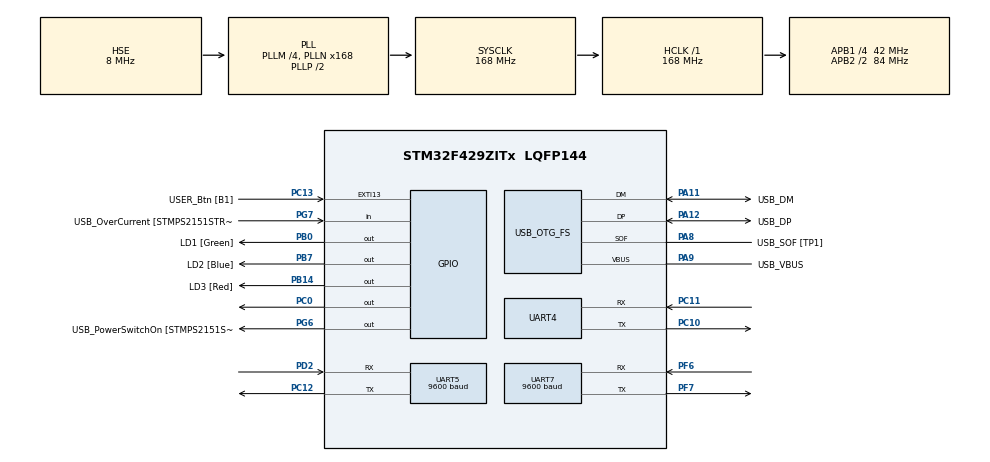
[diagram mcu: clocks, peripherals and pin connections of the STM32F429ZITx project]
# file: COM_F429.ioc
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Dma.Request0=UART4_RX
Dma.Request1=UART7_RX
Dma.Request2=UART5_RX
Dma.UART4_RX.0.Direction=DMA_PERIPH_TO_MEMORY
Dma.UART4_RX.0.FIFOMode=DMA_FIFOMODE_DISABLE
Dma.UART4_RX.0.Instance=DMA1_Stream2
Dma.UART4_RX.0.MemDataAlignment=DMA_MDATAALIGN_BYTE
Dma.UART4_RX.0.MemInc=DMA_MINC_ENABLE
Dma.UART4_RX.0.Mode=DMA_NORMAL
Dma.UART4_RX.0.PeriphDataAlignment=DMA_PDATAALIGN_BYTE
Dma.UART4_RX.0.PeriphInc=DMA_PINC_DISABLE
Dma.UART4_RX.0.Priority=DMA_PRIORITY_MEDIUM
Dma.UART5_RX.2.Direction=DMA_PERIPH_TO_MEMORY
Dma.UART5_RX.2.FIFOMode=DMA_FIFOMODE_DISABLE
Dma.UART5_RX.2.Instance=DMA1_Stream0
Dma.UART5_RX.2.MemDataAlignment=DMA_MDATAALIGN_BYTE
Dma.UART5_RX.2.MemInc=DMA_MINC_ENABLE
Dma.UART5_RX.2.Mode=DMA_NORMAL
Dma.UART5_RX.2.PeriphDataAlignment=DMA_PDATAALIGN_BYTE
Dma.UART5_RX.2.PeriphInc=DMA_PINC_DISABLE
Dma.UART5_RX.2.Priority=DMA_PRIORITY_MEDIUM
Dma.UART7_RX.1.Direction=DMA_PERIPH_TO_MEMORY
Dma.UART7_RX.1.FIFOMode=DMA_FIFOMODE_DISABLE
Dma.UART7_RX.1.Instance=DMA1_Stream3
Dma.UART7_RX.1.MemDataAlignment=DMA_MDATAALIGN_BYTE
Dma.UART7_RX.1.MemInc=DMA_MINC_ENABLE
Dma.UART7_RX.1.Mode=DMA_NORMAL
Dma.UART7_RX.1.PeriphDataAlignment=DMA_PDATAALIGN_BYTE
Dma.UART7_RX.1.PeriphInc=DMA_PINC_DISABLE
Dma.UART7_RX.1.Priority=DMA_PRIORITY_MEDIUM
Mcu.Family=STM32F4
Mcu.Name=STM32F429ZITx
Mcu.Package=LQFP144
NVIC.DMA1_Stream0_IRQn=true\:0\:0\:false\:false\:true\:false\:true\:true
NVIC.DMA1_Stream2_IRQn=true\:0\:0\:false\:false\:true\:false\:true\:true
NVIC.DMA1_Stream3_IRQn=true\:0\:0\:false\:false\:true\:false\:true\:true
NVIC.OTG_FS_IRQn=true\:0\:0\:false\:false\:true\:false\:true\:true
NVIC.PriorityGroup=NVIC_PRIORITYGROUP_4
NVIC.UART4_IRQn=true\:0\:0\:false\:false\:true\:true\:true\:true
NVIC.UART5_IRQn=true\:0\:0\:false\:false\:true\:true\:true\:true
NVIC.UART7_IRQn=true\:0\:0\:false\:false\:true\:true\:true\:true
PA1.GPIO_Label=RMII_REF_CLK [LAN8742A-CZ-TR_REFCLK0]
PA1.Signal=ETH_REF_CLK
PA10.GPIO_Label=USB_ID
PA10.Signal=USB_OTG_FS_ID
PA11.GPIO_Label=USB_DM
PA11.Mode=Device_Only
PA11.Signal=USB_OTG_FS_DM
PA12.GPIO_Label=USB_DP
PA12.Mode=Device_Only
PA12.Signal=USB_OTG_FS_DP
PA13.GPIO_Label=TMS
PA13.Mode=Serial_Wire
PA13.Signal=SYS_JTMS-SWDIO
PA14.GPIO_Label=TCK
PA14.Mode=Serial_Wire
PA14.Signal=SYS_JTCK-SWCLK
PA2.GPIO_Label=RMII_MDIO [LAN8742A-CZ-TR_MDIO]
PA2.Signal=ETH_MDIO
PA7.GPIO_Label=RMII_CRS_DV [LAN8742A-CZ-TR_CRS_DV]
PA7.Signal=ETH_CRS_DV
PA8.GPIO_Label=USB_SOF [TP1]
PA8.Mode=Activate_SOF_FS
PA8.Signal=USB_OTG_FS_SOF
PA9.GPIO_Label=USB_VBUS
PA9.Mode=Activate_VBUS
PA9.Signal=USB_OTG_FS_VBUS
PB0.GPIO_Label=LD1 [Green]
PB0.Signal=GPIO_Output
PB13.GPIO_Label=RMII_TXD1 [LAN8742A-CZ-TR_TXD1]
PB13.Signal=ETH_TXD1
PB14.GPIO_Label=LD3 [Red]
PB14.Signal=GPIO_Output
PB7.GPIO_Label=LD2 [Blue]
PB7.Signal=GPIO_Output
PC0.GPIO_Speed=GPIO_SPEED_FREQ_VERY_HIGH
PC0.PinState=GPIO_PIN_SET
PC0.Signal=GPIO_Output
PC1.GPIO_Label=RMII_MDC [LAN8742A-CZ-TR_MDC]
PC1.Signal=ETH_MDC
PC10.Mode=Asynchronous
PC10.Signal=UART4_TX
PC11.Mode=Asynchronous
PC11.Signal=UART4_RX
PC12.Mode=Asynchronous
PC12.Signal=UART5_TX
PC13.GPIO_Label=USER_Btn [B1]
PC13.Signal=GPXTI13
PC14/OSC32_IN.Mode=LSE-External-Oscillator
PC14/OSC32_IN.Signal=RCC_OSC32_IN
PC15/OSC32_OUT.Mode=LSE-External-Oscillator
PC15/OSC32_OUT.Signal=RCC_OSC32_OUT
PC4.GPIO_Label=RMII_RXD0 [LAN8742A-CZ-TR_RXD0]
PC4.Signal=ETH_RXD0
PC5.GPIO_Label=RMII_RXD1 [LAN8742A-CZ-TR_RXD1]
PC5.Signal=ETH_RXD1
PD2.Mode=Asynchronous
PD2.Signal=UART5_RX
PD8.GPIO_Label=STLK_RX [STM32F103CBT6_PA3]
PD8.Signal=USART3_TX
PD9.GPIO_Label=STLK_TX [STM32F103CBT6_PA2]
PD9.Signal=USART3_RX
PF6.Mode=Asynchronous
PF6.Signal=UART7_RX
PF7.Mode=Asynchronous
PF7.Signal=UART7_TX
PG11.GPIO_Label=RMII_TX_EN [LAN8742A-CZ-TR_TXEN]
PG11.Signal=ETH_TX_EN
PG13.GPIO_Label=RMII_TXD0 [LAN8742A-CZ-TR_TXD0]
PG13.Signal=ETH_TXD0
PG6.GPIO_Label=USB_PowerSwitchOn [STMPS2151STR_EN]
PG6.Signal=GPIO_Output
PG7.GPIO_Label=USB_OverCurrent [STMPS2151STR_FAULT]
PG7.Signal=GPIO_Input
PH0/OSC_IN.GPIO_Label=MCO [STM32F103CBT6_PA8]
PH0/OSC_IN.Mode=HSE-External-Clock-Source
PH0/OSC_IN.Signal=RCC_OSC_IN
PH1/OSC_OUT.Mode=HSE-External-Clock-Source
PH1/OSC_OUT.Signal=RCC_OSC_OUT
ProjectManager.HeapSize=0x200
ProjectManager.StackSize=0x400
ProjectManager.TargetToolchain=STM32CubeIDE
RCC.48MHZClocksFreq_Value=48000000
RCC.AHBFreq_Value=168000000
RCC.APB1CLKDivider=RCC_HCLK_DIV4
RCC.APB1Freq_Value=42000000
RCC.APB1TimFreq_Value=84000000
RCC.APB2CLKDivider=RCC_HCLK_DIV2
RCC.APB2Freq_Value=84000000
RCC.APB2TimCLKDivider=2
RCC.APB2TimFreq_Value=168000000
RCC.CortexFreq_Value=168000000
RCC.HCLKFreq_Value=168000000
RCC.HSE_VALUE=8000000
RCC.HSI_VALUE=16000000
RCC.PLLM=4
RCC.PLLMUL=RCC_PLL_MUL9
RCC.PLLN=168
RCC.PLLQ=7
RCC.PRESCALERUSB=RCC_USBCLKSOURCE_PLL_DIV1_5
RCC.SYSCLKFreq_VALUE=168000000
RCC.SYSCLKSource=RCC_SYSCLKSOURCE_PLLCLK
RCC.SYSCLKSourceVirtual=RCC_SYSCLKSOURCE_PLLCLK
RCC.USBFreq_Value=48000000
RCC.VCOOutputFreq_Value=336000000
UART4.VirtualMode=Asynchronous
UART5.BaudRate=9600
UART5.VirtualMode=Asynchronous
UART7.BaudRate=9600
UART7.VirtualMode=Asynchronous
USB_DEVICE.CLASS_NAME_FS=CDC
USB_DEVICE.CONFIGURATION_STRING_CDC_FS=CDC Config
USB_DEVICE.INTERFACE_STRING_CDC_FS=USB Serial Port
USB_DEVICE.MANUFACTURER_STRING-CDC_FS=STMicroelectronics
USB_DEVICE.PID_CDC_FS=0x5740
USB_DEVICE.PRODUCT_STRING_CDC_FS=USB Serial Port
USB_DEVICE.VID-CDC_FS=0x483
USB_DEVICE.VirtualMode-CDC_FS=Cdc
USB_DEVICE.VirtualModeFS=Cdc_FS
USB_OTG_FS.VirtualMode=Device_Only
VP_CRC_VS_CRC.Mode=CRC_Activate
VP_USB_DEVICE_VS_USB_DEVICE_CDC_FS.Mode=CDC_FS
board=NUCLEO-F429ZI

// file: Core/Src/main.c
/* USER CODE BEGIN Header */
/**
  ******************************************************************************
  * @file           : main.c
  * @brief          : Main program body
  ******************************************************************************
  * @attention
  *
  * Copyright (c) 2025 STMicroelectronics.
  * All rights reserved.
  *
  * This software is licensed under terms that can be found in the LICENSE file
  * in the root directory of this software component.
  * If no LICENSE file comes with this software, it is provided AS-IS.
  *
  ******************************************************************************
  */
/* USER CODE END Header */
#include "main.h"
#include "usb_device.h"

/* USER CODE BEGIN Includes */
#include "usbd_cdc_if.h"
#include "string.h"
/* USER CODE END Includes */

/* USER CODE BEGIN PD */
#define BUFF_SIZE 128
#define HEADER_SIZE 2
#define CRC_SIZE 1
#define PACKET_OVERHEAD (HEADER_SIZE + CRC_SIZE)

/* USER CODE END PD */

CRC_HandleTypeDef hcrc;

UART_HandleTypeDef huart4;
UART_HandleTypeDef huart5;
UART_HandleTypeDef huart7;
DMA_HandleTypeDef hdma_uart4_rx;
DMA_HandleTypeDef hdma_uart5_rx;
DMA_HandleTypeDef hdma_uart7_rx;
CRC_HandleTypeDef hcrc;

/* USER CODE BEGIN PV */
uint8_t usb_rx_buff_len =0;
uint8_t usb_rx_buffer[BUFF_SIZE];
uint8_t new_usb_data;
uint8_t uart4_rx_buffer[BUFF_SIZE];
uint8_t uart5_rx_buffer[BUFF_SIZE];
uint8_t uart7_rx_buffer[BUFF_SIZE];
uint8_t uart4_tx_buffer[BUFF_SIZE];
uint8_t uart5_tx_buffer[BUFF_SIZE];
uint8_t uart7_tx_buffer[BUFF_SIZE];
uint8_t udma4_rx_buffer[BUFF_SIZE];
uint8_t udma5_rx_buffer[BUFF_SIZE];
uint8_t udma7_rx_buffer[BUFF_SIZE];
uint16_t rx_size4 = 0;
uint16_t rx_size5 = 0;
uint16_t rx_size7 = 0;
uint8_t full_packet[128] = {0};
uint8_t full_packet2[128] = {0};

uint8_t header[HEADER_SIZE] = {0x02, 0x04};

/* USER CODE END PV */

void SystemClock_Config(void);
static void MX_GPIO_Init(void);
static void MX_DMA_Init(void);
static void MX_UART4_Init(void);
static void MX_UART5_Init(void);
static void MX_UART7_Init(void);
static void MX_CRC_Init(void);

/* USER CODE BEGIN 0 */

uint8_t Calculate_Checksum(uint8_t *data, uint16_t length) {
	uint8_t temp = data[0];
    for (uint16_t i = 1; i < length; i++) {
    	temp ^=  data[i];
    }
    return temp;
}
//uint32_t count=0;
void HAL_UARTEx_RxEventCallback(UART_HandleTypeDef *huart, uint16_t Size) {
//
//    if (huart->Instance == UART4) {
//        HAL_GPIO_WritePin(LD2_GPIO_Port, LD2_Pin, SET);
//        HAL_UARTEx_ReceiveToIdle_DMA(&huart4, uart4_rx_buffer, BUFF_SIZE);
//        memset(udma4_rx_buffer, 0, BUFF_SIZE);
//        memcpy(udma4_rx_buffer, uart4_rx_buffer, Size);
//        __HAL_DMA_DISABLE_IT(&hdma_uart4_rx, DMA_IT_HT);
//        rx_size4 = Size;
//        CDC_Transmit_FS(udma4_rx_buffer, rx_size4);
//        memset(uart4_rx_buffer, 0, BUFF_SIZE);
//        HAL_GPIO_WritePin(LD2_GPIO_Port, LD2_Pin, RESET);
//    }//huart->Instance == UART5 || huart->Instance == UART7
	if(huart->Instance == UART5){
		HAL_UARTEx_ReceiveToIdle_DMA(&huart5, uart5_rx_buffer, BUFF_SIZE);
		      memset(udma5_rx_buffer, 0, BUFF_SIZE);
		      if(Size > 0){
		       memcpy(udma5_rx_buffer, uart5_rx_buffer, Size);
		      }
		       __HAL_DMA_DISABLE_IT(&hdma_uart5_rx, DMA_IT_HT);
		        rx_size5 = Size;
		       //CDC_Transmit_FS(udma5_rx_buffer, rx_size5);
		       //memset(uart5_rx_buffer, 0, BUFF_SIZE);
	}

	if(huart->Instance == UART7){
			HAL_UARTEx_ReceiveToIdle_DMA(&huart7, uart7_rx_buffer, BUFF_SIZE);
			      memset(udma7_rx_buffer, 0, BUFF_SIZE);
			      if(Size > 0){
			       memcpy(udma7_rx_buffer, uart7_rx_buffer, Size);
			      }
			       __HAL_DMA_DISABLE_IT(&hdma_uart7_rx, DMA_IT_HT);
			        rx_size7 = Size;
			       //CDC_Transmit_FS(udma5_rx_buffer, rx_size5)
	}

}

//void transmit_ble(UART_HandleTypeDef *huart, char* message){
//	 uint8_t *rx_buffer;
//	 uint16_t *rx_size;
//
//	uint16_t size=sizeof(message);
//	uint8_t Size=size;
//	memcpy(rx_buffer, message, sizeof(message));
//	*rx_size = Size;
//	memcpy(&full_packet, header, sizeof(header));
//
//	full_packet[sizeof(header)]   =   (uint8_t)((*rx_size));
//	full_packet[sizeof(header)+1] = (uint8_t)((*rx_size)<<8u);
//	memcpy(&full_packet[sizeof(header)+sizeof(*rx_size)],  message, *rx_size);
//
//	 uint8_t temp = Calculate_Checksum(full_packet, HEADER_SIZE + sizeof(*rx_size) +  *rx_size );
//	full_packet[HEADER_SIZE + sizeof(*rx_size) +  *rx_size] = temp;
//	volatile uint8_t test= HEADER_SIZE + sizeof(*rx_size) +  *rx_size;
//	full_packet[test+1]=0;
//	HAL_UART_Transmit(&huart, full_packet,test+1, HAL_MAX_DELAY);
//}

/* USER CODE END 0 */

int main(void)
{

  /* MCU Configuration--------------------------------------------------------*/

  /* Reset of all peripherals, Initializes the Flash interface and the Systick. */
  HAL_Init();

  /* Configure the system clock */
  SystemClock_Config();

  /* Initialize all configured peripherals */
  MX_GPIO_Init();
  MX_DMA_Init();
  MX_UART4_Init();
  MX_USB_DEVICE_Init();
  MX_UART5_Init();
  MX_UART7_Init();
  MX_CRC_Init();
  /* USER CODE BEGIN 2 */
  HAL_UARTEx_ReceiveToIdle_DMA(&huart4, uart4_rx_buffer, BUFF_SIZE);
  HAL_UARTEx_ReceiveToIdle_DMA(&huart5, uart5_rx_buffer, BUFF_SIZE);
  HAL_UARTEx_ReceiveToIdle_DMA(&huart7, uart7_rx_buffer, BUFF_SIZE);
  /* USER CODE END 2 */

  /* Infinite loop */
  /* USER CODE BEGIN WHILE */
  static const uint8_t header[HEADER_SIZE] = {0x02, 0x04};  // Packet Header

  uint32_t count = 0;

  uint8_t full_packet[BUFF_SIZE];

  while (1) {
      count++;
      if (count % 1000000 == 0) {
          HAL_GPIO_TogglePin(LD2_GPIO_Port, LD2_Pin);

          uint8_t rx_buffer[BUFF_SIZE];
          uint8_t rx_buffer2[BUFF_SIZE];

          uint16_t rx_size = rx_size5;
          uint16_t rx_size2 = rx_size7;
          uint16_t total_size = rx_size + rx_size2;

          memcpy(rx_buffer, uart5_rx_buffer, rx_size);
          memcpy(rx_buffer2, uart7_rx_buffer, rx_size2);

          uint16_t index = 0;

          memcpy(&full_packet[index], header, HEADER_SIZE);
          index += HEADER_SIZE;

          // Store total data size
          full_packet[index++] = (uint8_t)(total_size & 0xFF);
          full_packet[index++] = (uint8_t)((total_size >> 8) & 0xFF);

          // Store first sensor data
          memcpy(&full_packet[index], rx_buffer, rx_size);
          index += rx_size;

          // Store second sensor data
          memcpy(&full_packet[index], rx_buffer2, rx_size2);
          index += rx_size2;

          // Compute checksum
          uint8_t checksum = Calculate_Checksum(full_packet, index);
          full_packet[index++] = checksum;

          // Null terminator (optional)
          full_packet[index++] = 0;

          // Transmit full packet
          HAL_UART_Transmit(&huart4, full_packet, index, HAL_MAX_DELAY);
      }
  }

  /* USER CODE END 3 */
}

void SystemClock_Config(void)
{
  RCC_OscInitTypeDef RCC_OscInitStruct = {0};
  RCC_ClkInitTypeDef RCC_ClkInitStruct = {0};

  /** Configure the main internal regulator output voltage
  */
  __HAL_RCC_PWR_CLK_ENABLE();
  __HAL_PWR_VOLTAGESCALING_CONFIG(PWR_REGULATOR_VOLTAGE_SCALE1);

  /** Initializes the RCC Oscillators according to the specified parameters
  * in the RCC_OscInitTypeDef structure.
  */
  RCC_OscInitStruct.OscillatorType = RCC_OSCILLATORTYPE_HSE;
  RCC_OscInitStruct.HSEState = RCC_HSE_BYPASS;
  RCC_OscInitStruct.PLL.PLLState = RCC_PLL_ON;
  RCC_OscInitStruct.PLL.PLLSource = RCC_PLLSOURCE_HSE;
  RCC_OscInitStruct.PLL.PLLM = 4;
  RCC_OscInitStruct.PLL.PLLN = 168;
  RCC_OscInitStruct.PLL.PLLP = RCC_PLLP_DIV2;
  RCC_OscInitStruct.PLL.PLLQ = 7;
  if (HAL_RCC_OscConfig(&RCC_OscInitStruct) != HAL_OK)
  {
    Error_Handler();
  }

  /** Initializes the CPU, AHB and APB buses clocks
  */
  RCC_ClkInitStruct.ClockType = RCC_CLOCKTYPE_HCLK|RCC_CLOCKTYPE_SYSCLK
                              |RCC_CLOCKTYPE_PCLK1|RCC_CLOCKTYPE_PCLK2;
  RCC_ClkInitStruct.SYSCLKSource = RCC_SYSCLKSOURCE_PLLCLK;
  RCC_ClkInitStruct.AHBCLKDivider = RCC_SYSCLK_DIV1;
  RCC_ClkInitStruct.APB1CLKDivider = RCC_HCLK_DIV4;
  RCC_ClkInitStruct.APB2CLKDivider = RCC_HCLK_DIV2;

  if (HAL_RCC_ClockConfig(&RCC_ClkInitStruct, FLASH_LATENCY_5) != HAL_OK)
  {
    Error_Handler();
  }
}

static void MX_CRC_Init(void)
{

  hcrc.Instance = CRC;
  if (HAL_CRC_Init(&hcrc) != HAL_OK)
  {
    Error_Handler();
  }

}

static void MX_UART4_Init(void)
{

  huart4.Instance = UART4;
  huart4.Init.BaudRate = 115200;
  huart4.Init.WordLength = UART_WORDLENGTH_8B;
  huart4.Init.StopBits = UART_STOPBITS_1;
  huart4.Init.Parity = UART_PARITY_NONE;
  huart4.Init.Mode = UART_MODE_TX_RX;
  huart4.Init.HwFlowCtl = UART_HWCONTROL_NONE;
  huart4.Init.OverSampling = UART_OVERSAMPLING_16;
  if (HAL_UART_Init(&huart4) != HAL_OK)
  {
    Error_Handler();
  }

}

static void MX_UART5_Init(void)
{

  huart5.Instance = UART5;
  huart5.Init.BaudRate = 9600;
  huart5.Init.WordLength = UART_WORDLENGTH_8B;
  huart5.Init.StopBits = UART_STOPBITS_1;
  huart5.Init.Parity = UART_PARITY_NONE;
  huart5.Init.Mode = UART_MODE_TX_RX;
  huart5.Init.HwFlowCtl = UART_HWCONTROL_NONE;
  huart5.Init.OverSampling = UART_OVERSAMPLING_16;
  if (HAL_UART_Init(&huart5) != HAL_OK)
  {
    Error_Handler();
  }

}

static void MX_UART7_Init(void)
{

  huart7.Instance = UART7;
  huart7.Init.BaudRate = 9600;
  huart7.Init.WordLength = UART_WORDLENGTH_8B;
  huart7.Init.StopBits = UART_STOPBITS_1;
  huart7.Init.Parity = UART_PARITY_NONE;
  huart7.Init.Mode = UART_MODE_TX_RX;
  huart7.Init.HwFlowCtl = UART_HWCONTROL_NONE;
  huart7.Init.OverSampling = UART_OVERSAMPLING_16;
  if (HAL_UART_Init(&huart7) != HAL_OK)
  {
    Error_Handler();
  }

}

static void MX_DMA_Init(void)
{

  /* DMA controller clock enable */
  __HAL_RCC_DMA1_CLK_ENABLE();

  /* DMA interrupt init */
  /* DMA1_Stream0_IRQn interrupt configuration */
  HAL_NVIC_SetPriority(DMA1_Stream0_IRQn, 0, 0);
  HAL_NVIC_EnableIRQ(DMA1_Stream0_IRQn);
  /* DMA1_Stream2_IRQn interrupt configuration */
  HAL_NVIC_SetPriority(DMA1_Stream2_IRQn, 0, 0);
  HAL_NVIC_EnableIRQ(DMA1_Stream2_IRQn);
  /* DMA1_Stream3_IRQn interrupt configuration */
  HAL_NVIC_SetPriority(DMA1_Stream3_IRQn, 0, 0);
  HAL_NVIC_EnableIRQ(DMA1_Stream3_IRQn);

}

static void MX_GPIO_Init(void)
{
  GPIO_InitTypeDef GPIO_InitStruct = {0};

  /* GPIO Ports Clock Enable */
  __HAL_RCC_GPIOC_CLK_ENABLE();
  __HAL_RCC_GPIOF_CLK_ENABLE();
  __HAL_RCC_GPIOH_CLK_ENABLE();
  __HAL_RCC_GPIOA_CLK_ENABLE();
  __HAL_RCC_GPIOB_CLK_ENABLE();
  __HAL_RCC_GPIOD_CLK_ENABLE();
  __HAL_RCC_GPIOG_CLK_ENABLE();

  /*Configure GPIO pin Output Level */
  HAL_GPIO_WritePin(GPIOC, GPIO_PIN_0, GPIO_PIN_SET);

  /*Configure GPIO pin Output Level */
  HAL_GPIO_WritePin(GPIOB, LD1_Pin|LD3_Pin|LD2_Pin, GPIO_PIN_RESET);

  /*Configure GPIO pin Output Level */
  HAL_GPIO_WritePin(USB_PowerSwitchOn_GPIO_Port, USB_PowerSwitchOn_Pin, GPIO_PIN_RESET);

  /*Configure GPIO pin : USER_Btn_Pin */
  GPIO_InitStruct.Pin = USER_Btn_Pin;
  GPIO_InitStruct.Mode = GPIO_MODE_IT_RISING;
  GPIO_InitStruct.Pull = GPIO_NOPULL;
  HAL_GPIO_Init(USER_Btn_GPIO_Port, &GPIO_InitStruct);

  /*Configure GPIO pin : PC0 */
  GPIO_InitStruct.Pin = GPIO_PIN_0;
  GPIO_InitStruct.Mode = GPIO_MODE_OUTPUT_PP;
  GPIO_InitStruct.Pull = GPIO_NOPULL;
  GPIO_InitStruct.Speed = GPIO_SPEED_FREQ_VERY_HIGH;
  HAL_GPIO_Init(GPIOC, &GPIO_InitStruct);

  /*Configure GPIO pins : RMII_MDC_Pin RMII_RXD0_Pin RMII_RXD1_Pin */
  GPIO_InitStruct.Pin = RMII_MDC_Pin|RMII_RXD0_Pin|RMII_RXD1_Pin;
  GPIO_InitStruct.Mode = GPIO_MODE_AF_PP;
  GPIO_InitStruct.Pull = GPIO_NOPULL;
  GPIO_InitStruct.Speed = GPIO_SPEED_FREQ_VERY_HIGH;
  GPIO_InitStruct.Alternate = GPIO_AF11_ETH;
  HAL_GPIO_Init(GPIOC, &GPIO_InitStruct);

  /*Configure GPIO pins : RMII_REF_CLK_Pin RMII_MDIO_Pin RMII_CRS_DV_Pin */
  GPIO_InitStruct.Pin = RMII_REF_CLK_Pin|RMII_MDIO_Pin|RMII_CRS_DV_Pin;
  GPIO_InitStruct.Mode = GPIO_MODE_AF_PP;
  GPIO_InitStruct.Pull = GPIO_NOPULL;
  GPIO_InitStruct.Speed = GPIO_SPEED_FREQ_VERY_HIGH;
  GPIO_InitStruct.Alternate = GPIO_AF11_ETH;
  HAL_GPIO_Init(GPIOA, &GPIO_InitStruct);

  /*Configure GPIO pins : LD1_Pin LD3_Pin LD2_Pin */
  GPIO_InitStruct.Pin = LD1_Pin|LD3_Pin|LD2_Pin;
  GPIO_InitStruct.Mode = GPIO_MODE_OUTPUT_PP;
  GPIO_InitStruct.Pull = GPIO_NOPULL;
  GPIO_InitStruct.Speed = GPIO_SPEED_FREQ_LOW;
  HAL_GPIO_Init(GPIOB, &GPIO_InitStruct);

  /*Configure GPIO pin : RMII_TXD1_Pin */
  GPIO_InitStruct.Pin = RMII_TXD1_Pin;
  GPIO_InitStruct.Mode = GPIO_MODE_AF_PP;
  GPIO_InitStruct.Pull = GPIO_NOPULL;
  GPIO_InitStruct.Speed = GPIO_SPEED_FREQ_VERY_HIGH;
  GPIO_InitStruct.Alternate = GPIO_AF11_ETH;
  HAL_GPIO_Init(RMII_TXD1_GPIO_Port, &GPIO_InitStruct);

  /*Configure GPIO pins : STLK_RX_Pin STLK_TX_Pin */
  GPIO_InitStruct.Pin = STLK_RX_Pin|STLK_TX_Pin;
  GPIO_InitStruct.Mode = GPIO_MODE_AF_PP;
  GPIO_InitStruct.Pull = GPIO_NOPULL;
  GPIO_InitStruct.Speed = GPIO_SPEED_FREQ_VERY_HIGH;
  GPIO_InitStruct.Alternate = GPIO_AF7_USART3;
  HAL_GPIO_Init(GPIOD, &GPIO_InitStruct);

  /*Configure GPIO pin : USB_PowerSwitchOn_Pin */
  GPIO_InitStruct.Pin = USB_PowerSwitchOn_Pin;
  GPIO_InitStruct.Mode = GPIO_MODE_OUTPUT_PP;
  GPIO_InitStruct.Pull = GPIO_NOPULL;
  GPIO_InitStruct.Speed = GPIO_SPEED_FREQ_LOW;
  HAL_GPIO_Init(USB_PowerSwitchOn_GPIO_Port, &GPIO_InitStruct);

  /*Configure GPIO pin : USB_OverCurrent_Pin */
  GPIO_InitStruct.Pin = USB_OverCurrent_Pin;
  GPIO_InitStruct.Mode = GPIO_MODE_INPUT;
  GPIO_InitStruct.Pull = GPIO_NOPULL;
  HAL_GPIO_Init(USB_OverCurrent_GPIO_Port, &GPIO_InitStruct);

  /*Configure GPIO pins : RMII_TX_EN_Pin RMII_TXD0_Pin */
  GPIO_InitStruct.Pin = RMII_TX_EN_Pin|RMII_TXD0_Pin;
  GPIO_InitStruct.Mode = GPIO_MODE_AF_PP;
  GPIO_InitStruct.Pull = GPIO_NOPULL;
  GPIO_InitStruct.Speed = GPIO_SPEED_FREQ_VERY_HIGH;
  GPIO_InitStruct.Alternate = GPIO_AF11_ETH;
  HAL_GPIO_Init(GPIOG, &GPIO_InitStruct);

}

void Error_Handler(void)
{
  __disable_irq();
  while (1)
  {
  }
}
